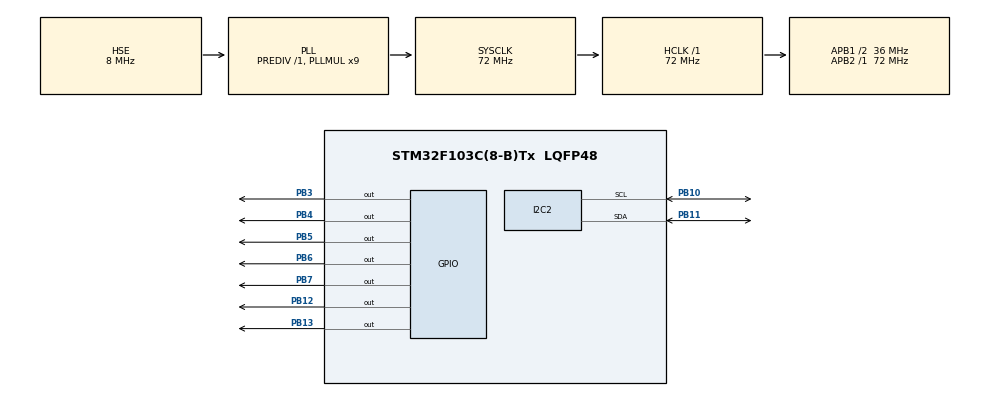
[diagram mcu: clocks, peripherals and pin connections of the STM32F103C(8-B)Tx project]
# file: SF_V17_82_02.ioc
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Mcu.Family=STM32F1
Mcu.Name=STM32F103C(8-B)Tx
Mcu.Package=LQFP48
NVIC.PriorityGroup=NVIC_PRIORITYGROUP_4
PA13.Mode=Serial_Wire
PA13.Signal=SYS_JTMS-SWDIO
PA14.Mode=Serial_Wire
PA14.Signal=SYS_JTCK-SWCLK
PB10.Mode=I2C
PB10.Signal=I2C2_SCL
PB11.Mode=I2C
PB11.Signal=I2C2_SDA
PB12.Signal=GPIO_Output
PB13.Signal=GPIO_Output
PB3.Signal=GPIO_Output
PB4.Signal=GPIO_Output
PB5.Signal=GPIO_Output
PB6.Signal=GPIO_Output
PB7.Signal=GPIO_Output
PD0-OSC_IN.Mode=HSE-External-Oscillator
PD0-OSC_IN.Signal=RCC_OSC_IN
PD1-OSC_OUT.Mode=HSE-External-Oscillator
PD1-OSC_OUT.Signal=RCC_OSC_OUT
ProjectManager.HeapSize=0x200
ProjectManager.StackSize=0x400
ProjectManager.TargetToolchain=STM32CubeIDE
RCC.AHBFreq_Value=72000000
RCC.APB1CLKDivider=RCC_HCLK_DIV2
RCC.APB1Freq_Value=36000000
RCC.APB1TimFreq_Value=72000000
RCC.APB2Freq_Value=72000000
RCC.APB2TimFreq_Value=72000000
RCC.HCLKFreq_Value=72000000
RCC.PLLMUL=RCC_PLL_MUL9
RCC.PLLSourceVirtual=RCC_PLLSOURCE_HSE
RCC.SYSCLKFreq_VALUE=72000000
RCC.SYSCLKSource=RCC_SYSCLKSOURCE_PLLCLK
RCC.USBFreq_Value=72000000
board=custom

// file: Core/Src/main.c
/* USER CODE BEGIN Header */
/**
  ******************************************************************************
  * @file           : main.c
  * @brief          : Main program body
  ******************************************************************************
  * @attention
  *
  * Copyright (c) 2024 STMicroelectronics.
  * All rights reserved.
  *
  * This software is licensed under terms that can be found in the LICENSE file
  * in the root directory of this software component.
  * If no LICENSE file comes with this software, it is provided AS-IS.
  *
  ******************************************************************************
  */
/* USER CODE END Header */
#include "main.h"

/* USER CODE BEGIN Includes */
#include "sensor_fusion_lib.h"
#include "lcd.h"
/* USER CODE END Includes */

/* USER CODE BEGIN PD */
volatile float theta_asil;//acilari depolamak icin degiskenler tanimliyoruz
volatile float phi_asil;
volatile float theta_SF;
volatile float phi_SF;
volatile int basladi;
volatile float elptime=0;
/* USER CODE END PD */

I2C_HandleTypeDef hi2c2;

/* USER CODE BEGIN PV */
// veri gruplarimizi olusturuyoruz
sensor_t veriler;
//baslangic kosullarini ve filtrenin parametrelerini tanimliyoruz
SF_KF_t K_fil = {
	.Q= {    { 0.01 , 0, 0, 0},
			 { 0, 0.01 , 0, 0},
			 { 0, 0,0.01 , 0},
			 { 0, 0, 0,  0.01}},
    .R= {   {0.00001,  0,  0,   0},
    		{  0, 0.00001,  0,   0},
			{  0,  0, 0.00001,   0},
			{  0,  0,  0, 0.00001}},
	.P= {   {  5,  0,  0,   0},
		    {  0,  5,  0,   0},
			{  0,  0,  5,   0},
			{  0,  0,  0,   5}},
	.K_gain={   { 0.01,  0,  0,   0},
		    	{  0, 0.01,  0,   0},
				{  0,  0, 0.01,   0},
				{  0,  0,  0,  0.01}},
	.q_est=    { 1, 0, 0, 0 },
	.q_accel=  { 1, 0, 0, 0 },
	.q_pred=   { 1, 0, 0, 0 },
	.time_interval= 0.01
};

kucuk_kalman Gy_kf={
		.Ppredgy={0,0,0},
		.Kgain_gy={0 , 0 ,0},
		.Pgy={0.1 ,0.1 ,0.1},
		.Qgy={0.001 ,0.001 ,0.001},
		.Rgy={10,10,  10}
};

char temp1[8];
/* USER CODE END PV */

void SystemClock_Config(void);
static void MX_GPIO_Init(void);
static void MX_I2C2_Init(void);

int main(void)
{

  /* MCU Configuration--------------------------------------------------------*/

  /* Reset of all peripherals, Initializes the Flash interface and the Systick. */
  HAL_Init();

  /* Configure the system clock */
  SystemClock_Config();

  /* Initialize all configured peripherals */
  MX_GPIO_Init();
  MX_I2C2_Init();
  /* USER CODE BEGIN 2 */
  Lcd_HandleTypeDef lcd;
  Lcd_PortType ports[] = {GPIOB,  GPIOB , GPIOB  ,GPIOB  };
  Lcd_PinType pins[] = {GPIO_PIN_3,GPIO_PIN_4 ,GPIO_PIN_5 ,GPIO_PIN_6 };
  lcd= Lcd_create(ports, pins, GPIOB,GPIO_PIN_12, GPIOB, GPIO_PIN_13, LCD_4_BIT_MODE);

  Lcd_clear(&lcd);
basladi=MPU6050_init_and_conf(&hi2c2);//sensoru konfigure edip baslatiyoruz
  /* USER CODE END 2 */

  /* Infinite loop */
  /* USER CODE BEGIN WHILE */
  while (1)
  {
	  Sensor_Fusion(&hi2c2, &K_fil   ,&veriler ,&Gy_kf);
	  theta_asil=veriler.theta_accel*180/3.14159;//ivmeolcerden aldigimiz theta acisini dereceye ceviriyoruz
	  phi_asil=veriler.phi_accel*180/3.14159;//ivmeolcerden aldigimiz phi acisini dereceye ceviriyoruz
	  theta_SF=veriler.THETA;//kalman filtresinden aldigimiz theta acisini dereceye ceviriyoruz
	  phi_SF=veriler.PHI;//kalman filtresinden aldigimiz phi acisini dereceye ceviriyoruz

	  sprintf(temp1, "%.1f",theta_asil);
	  Lcd_cursor(&lcd, 0,0);
	  Lcd_string(&lcd, temp1);

	  sprintf(temp1, "%.1f",phi_asil);
	  Lcd_cursor(&lcd, 0,8);
	  Lcd_string(&lcd, temp1);

	  sprintf(temp1, "%.1f",theta_SF);
	  Lcd_cursor(&lcd, 1,0);
	  Lcd_string(&lcd, temp1);

	  sprintf(temp1, "%.1f",phi_SF);
	  Lcd_cursor(&lcd, 1,8);
	  Lcd_string(&lcd, temp1);

	  while ((HAL_GetTick()- elptime)*1000<10000);//donguyu 0.01 saniyede sinirliyoruz
	  elptime=HAL_GetTick();

    /* USER CODE END WHILE */

  }
}

void SystemClock_Config(void)
{
  RCC_OscInitTypeDef RCC_OscInitStruct = {0};
  RCC_ClkInitTypeDef RCC_ClkInitStruct = {0};

  /** Initializes the RCC Oscillators according to the specified parameters
  * in the RCC_OscInitTypeDef structure.
  */
  RCC_OscInitStruct.OscillatorType = RCC_OSCILLATORTYPE_HSE;
  RCC_OscInitStruct.HSEState = RCC_HSE_ON;
  RCC_OscInitStruct.HSEPredivValue = RCC_HSE_PREDIV_DIV1;
  RCC_OscInitStruct.HSIState = RCC_HSI_ON;
  RCC_OscInitStruct.PLL.PLLState = RCC_PLL_ON;
  RCC_OscInitStruct.PLL.PLLSource = RCC_PLLSOURCE_HSE;
  RCC_OscInitStruct.PLL.PLLMUL = RCC_PLL_MUL9;
  if (HAL_RCC_OscConfig(&RCC_OscInitStruct) != HAL_OK)
  {
    Error_Handler();
  }

  /** Initializes the CPU, AHB and APB buses clocks
  */
  RCC_ClkInitStruct.ClockType = RCC_CLOCKTYPE_HCLK|RCC_CLOCKTYPE_SYSCLK
                              |RCC_CLOCKTYPE_PCLK1|RCC_CLOCKTYPE_PCLK2;
  RCC_ClkInitStruct.SYSCLKSource = RCC_SYSCLKSOURCE_PLLCLK;
  RCC_ClkInitStruct.AHBCLKDivider = RCC_SYSCLK_DIV1;
  RCC_ClkInitStruct.APB1CLKDivider = RCC_HCLK_DIV2;
  RCC_ClkInitStruct.APB2CLKDivider = RCC_HCLK_DIV1;

  if (HAL_RCC_ClockConfig(&RCC_ClkInitStruct, FLASH_LATENCY_2) != HAL_OK)
  {
    Error_Handler();
  }
}

static void MX_I2C2_Init(void)
{

  hi2c2.Instance = I2C2;
  hi2c2.Init.ClockSpeed = 100000;
  hi2c2.Init.DutyCycle = I2C_DUTYCYCLE_2;
  hi2c2.Init.OwnAddress1 = 0;
  hi2c2.Init.AddressingMode = I2C_ADDRESSINGMODE_7BIT;
  hi2c2.Init.DualAddressMode = I2C_DUALADDRESS_DISABLE;
  hi2c2.Init.OwnAddress2 = 0;
  hi2c2.Init.GeneralCallMode = I2C_GENERALCALL_DISABLE;
  hi2c2.Init.NoStretchMode = I2C_NOSTRETCH_DISABLE;
  if (HAL_I2C_Init(&hi2c2) != HAL_OK)
  {
    Error_Handler();
  }

}

static void MX_GPIO_Init(void)
{
  GPIO_InitTypeDef GPIO_InitStruct = {0};

  /* GPIO Ports Clock Enable */
  __HAL_RCC_GPIOD_CLK_ENABLE();
  __HAL_RCC_GPIOB_CLK_ENABLE();
  __HAL_RCC_GPIOA_CLK_ENABLE();

  /*Configure GPIO pin Output Level */
  HAL_GPIO_WritePin(GPIOB, GPIO_PIN_12|GPIO_PIN_13|GPIO_PIN_3|GPIO_PIN_4
                          |GPIO_PIN_5|GPIO_PIN_6|GPIO_PIN_7, GPIO_PIN_RESET);

  /*Configure GPIO pins : PB12 PB13 PB3 PB4
                           PB5 PB6 PB7 */
  GPIO_InitStruct.Pin = GPIO_PIN_12|GPIO_PIN_13|GPIO_PIN_3|GPIO_PIN_4
                          |GPIO_PIN_5|GPIO_PIN_6|GPIO_PIN_7;
  GPIO_InitStruct.Mode = GPIO_MODE_OUTPUT_PP;
  GPIO_InitStruct.Pull = GPIO_NOPULL;
  GPIO_InitStruct.Speed = GPIO_SPEED_FREQ_LOW;
  HAL_GPIO_Init(GPIOB, &GPIO_InitStruct);

}

void Error_Handler(void)
{
  __disable_irq();
  while (1)
  {
  }
}
